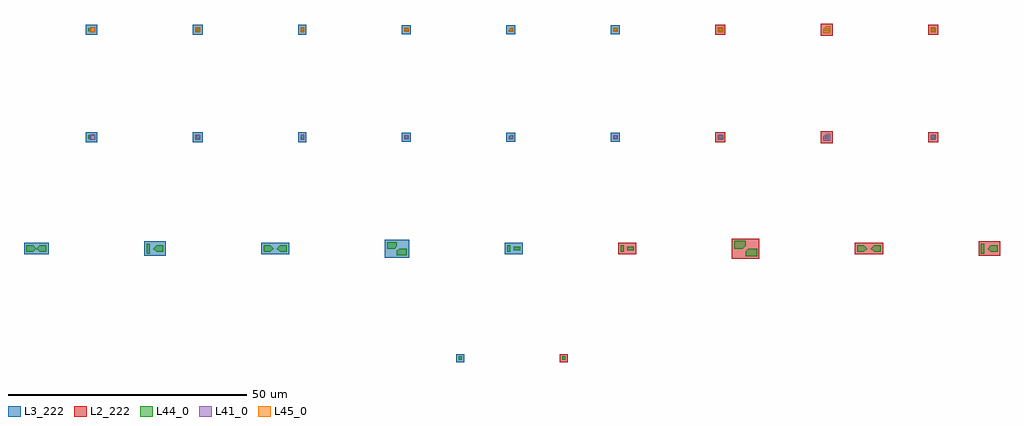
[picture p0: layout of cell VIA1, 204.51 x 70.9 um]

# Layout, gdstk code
from math import pi, radians
import gdstk
lib = gdstk.Library(unit=1e-6, precision=1e-09)
def R(c, l, rs):  # rectangles x0, y0, x1, y1
    for r in rs: c.add(gdstk.rectangle(r[:2], r[2:], *l))
def P(c, l, *ps):  # polygons
    for p in ps: c.add(gdstk.Polygon(p, *l))
L2_222 = (2, 222)
L3_222 = (3, 222)
L41_0 = (41, 0)
L44_0 = (44, 0)
L45_0 = (45, 0)

compass_layervia1_size0p = lib.new_cell('compass_layerVIA1_size0p7__0p7')
R(compass_layervia1_size0p, L44_0, [(-0.35,-0.35,0.35,0.35)])

rectangle_layervia1_size = lib.new_cell('rectangle_layerVIA1_size0p7__0p7')
rectangle_layervia1_size.add(gdstk.Reference(compass_layervia1_size0p, (0.35,0.35)))

compass_b2efa8bb = lib.new_cell('compass_b2efa8bb')
R(compass_b2efa8bb, L2_222, [(-0.85,-0.85,0.85,0.85)])

rectangle_b2efa8bb = lib.new_cell('rectangle_b2efa8bb')
rectangle_b2efa8bb.add(gdstk.Reference(compass_b2efa8bb, (0.85,0.85)))

pass_fail_mk_dee1b1f1 = lib.new_cell('pass_fail_mk_dee1b1f1')
pass_fail_mk_dee1b1f1.add(gdstk.Reference(rectangle_b2efa8bb, (-0.5,-0.5)))
pass_fail_mk_dee1b1f1.add(gdstk.Label('VIAC.W.1', (-0.25,-0.25), layer=11, texttype=222))

c_compass_layervia1_size0p = lib.new_cell('compass_layerVIA1_size0p69__0p69')
R(c_compass_layervia1_size0p, L44_0, [(-0.345,-0.345,0.345,0.345)])

c_rectangle_layervia1_size = lib.new_cell('rectangle_layerVIA1_size0p69__0p69')
c_rectangle_layervia1_size.add(gdstk.Reference(c_compass_layervia1_size0p, (0.345,0.345)))

compass_bd24d7c0 = lib.new_cell('compass_bd24d7c0')
R(compass_bd24d7c0, L3_222, [(-0.845,-0.845,0.845,0.845)])

rectangle_bd24d7c0 = lib.new_cell('rectangle_bd24d7c0')
rectangle_bd24d7c0.add(gdstk.Reference(compass_bd24d7c0, (0.845,0.845)))

pass_fail_mk_a23e139b = lib.new_cell('pass_fail_mk_a23e139b')
pass_fail_mk_a23e139b.add(gdstk.Reference(rectangle_bd24d7c0, (-0.5,-0.5)))
pass_fail_mk_a23e139b.add(gdstk.Label('VIAC.W.1', (-0.25,-0.25), layer=11, texttype=222))

size_patterns_width0_7_l = lib.new_cell('size_patterns_width0.7_layerVIA1')
size_patterns_width0_7_l.add(gdstk.Reference(rectangle_layervia1_size, (0,0)))
size_patterns_width0_7_l.add(gdstk.Reference(pass_fail_mk_dee1b1f1, (0,0)))
size_patterns_width0_7_l.add(gdstk.Reference(c_rectangle_layervia1_size, (-21.69,0.005)))
size_patterns_width0_7_l.add(gdstk.Reference(pass_fail_mk_a23e139b, (-21.69,0.005)))

c_compass_layervia1_size0p_ = lib.new_cell('compass_layerVIA1_size0p7__1p4')
R(c_compass_layervia1_size0p_, L44_0, [(-0.35,-0.7,0.35,0.7)])

c_rectangle_layervia1_size_ = lib.new_cell('rectangle_layerVIA1_size0p7__1p4')
c_rectangle_layervia1_size_.add(gdstk.Reference(c_compass_layervia1_size0p_, (0.35,0.7)))

compass_layervia1_size1p = lib.new_cell('compass_layerVIA1_size1p4__0p7')
R(compass_layervia1_size1p, L44_0, [(-0.7,-0.35,0.7,0.35)])

c_rectangle_layervia1_size__ = lib.new_cell('rectangle_layerVIA1_size1p4__0p7')
c_rectangle_layervia1_size__.add(gdstk.Reference(compass_layervia1_size1p, (0.7,0.35)))

space_basic_spacing0_7_l = lib.new_cell('space_basic_spacing0.7_layer1VIA1_layer2VIA1')
space_basic_spacing0_7_l.add(gdstk.Reference(c_rectangle_layervia1_size_, (-0.7,1.05), rotation=pi))
space_basic_spacing0_7_l.add(gdstk.Reference(c_rectangle_layervia1_size__, (0,0)))

compass_77408f74 = lib.new_cell('compass_77408f74')
R(compass_77408f74, L2_222, [(-1.9,-1.2,1.9,1.2)])

rectangle_77408f74 = lib.new_cell('rectangle_77408f74')
rectangle_77408f74.add(gdstk.Reference(compass_77408f74, (1.9,1.2)))

pass_fail_mk_a50d1928 = lib.new_cell('pass_fail_mk_a50d1928')
pass_fail_mk_a50d1928.add(gdstk.Reference(rectangle_77408f74, (-1.9,-0.85)))
pass_fail_mk_a50d1928.add(gdstk.Label('VIAC.S.1', (-1.65,-0.6), layer=11, texttype=222))

space_basic_spacing0_69_ = lib.new_cell('space_basic_spacing0.69_layer1VIA1_layer2VIA1')
space_basic_spacing0_69_.add(gdstk.Reference(c_rectangle_layervia1_size_, (-0.69,1.05), rotation=pi))
space_basic_spacing0_69_.add(gdstk.Reference(c_rectangle_layervia1_size__, (0,0)))

compass_235e8b68 = lib.new_cell('compass_235e8b68')
R(compass_235e8b68, L3_222, [(-1.895,-1.2,1.895,1.2)])

rectangle_235e8b68 = lib.new_cell('rectangle_235e8b68')
rectangle_235e8b68.add(gdstk.Reference(compass_235e8b68, (1.895,1.2)))

pass_fail_mk_c2ff4533 = lib.new_cell('pass_fail_mk_c2ff4533')
pass_fail_mk_c2ff4533.add(gdstk.Reference(rectangle_235e8b68, (-1.89,-0.85)))
pass_fail_mk_c2ff4533.add(gdstk.Label('VIAC.S.1', (-1.64,-0.6), layer=11, texttype=222))

boolean_d62dbe90 = lib.new_cell('boolean_d62dbe90')
P(boolean_d62dbe90, L44_0, [(2.4,1.6),(0.567,1.6),(0,1.032),(0,0),(2.4,0)])

space_45deg_spacing0_799 = lib.new_cell('space_45deg_spacing0.7999999999999999_layer1VIA1_layer2VIA1')
space_45deg_spacing0_799.add(gdstk.Reference(boolean_d62dbe90, (0,0)))
space_45deg_spacing0_799.add(gdstk.Reference(boolean_d62dbe90, (0,3.2), rotation=pi))

compass_ca9d0b4a = lib.new_cell('compass_ca9d0b4a')
R(compass_ca9d0b4a, L2_222, [(-2.9,-2.1,2.9,2.1)])

rectangle_ca9d0b4a = lib.new_cell('rectangle_ca9d0b4a')
rectangle_ca9d0b4a.add(gdstk.Reference(compass_ca9d0b4a, (2.9,2.1)))

pass_fail_mk_87d67501 = lib.new_cell('pass_fail_mk_87d67501')
pass_fail_mk_87d67501.add(gdstk.Reference(rectangle_ca9d0b4a, (-2.9,-0.5)))
pass_fail_mk_87d67501.add(gdstk.Label('VIAC.S.1', (-2.65,-0.25), layer=11, texttype=222))

boolean_6afd6f60 = lib.new_cell('boolean_6afd6f60')
P(boolean_6afd6f60, L44_0, [(2.07,1.38),(0.489,1.38),(0,0.891),(0,0),(2.07,0)])

space_45deg_spacing0_69_ = lib.new_cell('space_45deg_spacing0.69_layer1VIA1_layer2VIA1')
space_45deg_spacing0_69_.add(gdstk.Reference(boolean_6afd6f60, (0,0)))
space_45deg_spacing0_69_.add(gdstk.Reference(boolean_6afd6f60, (0,2.76), rotation=pi))

compass_da3c626a = lib.new_cell('compass_da3c626a')
R(compass_da3c626a, L3_222, [(-2.57,-1.88,2.57,1.88)])

rectangle_da3c626a = lib.new_cell('rectangle_da3c626a')
rectangle_da3c626a.add(gdstk.Reference(compass_da3c626a, (2.57,1.88)))

pass_fail_mk_aa624176 = lib.new_cell('pass_fail_mk_aa624176')
pass_fail_mk_aa624176.add(gdstk.Reference(rectangle_da3c626a, (-2.57,-0.5)))
pass_fail_mk_aa624176.add(gdstk.Label('VIAC.S.1', (-2.32,-0.25), layer=11, texttype=222))

boolean_af2b0828 = lib.new_cell('boolean_af2b0828')
P(boolean_af2b0828, L44_0, [(0,0),(1.4,0),(1.4,1.4),(0,1.4),(-0.7,0.7)])

boolean_0dd5db65 = lib.new_cell('boolean_0dd5db65')
P(boolean_0dd5db65, L44_0, [(1.4,1.4),(0,1.4),(-0.7,0.7),(0,0),(1.4,0)])

space_cor2cor_spacing0_7 = lib.new_cell('space_cor2cor_spacing0.7_layer1VIA1_layer2VIA1')
space_cor2cor_spacing0_7.add(gdstk.Reference(boolean_af2b0828, (0,0)))
space_cor2cor_spacing0_7.add(gdstk.Reference(boolean_0dd5db65, (-2.1,1.4), rotation=pi))

compass_ff052847 = lib.new_cell('compass_ff052847')
R(compass_ff052847, L2_222, [(-2.95,-1.2,2.95,1.2)])

rectangle_ff052847 = lib.new_cell('rectangle_ff052847')
rectangle_ff052847.add(gdstk.Reference(compass_ff052847, (2.95,1.2)))

pass_fail_mk_81b83eff = lib.new_cell('pass_fail_mk_81b83eff')
pass_fail_mk_81b83eff.add(gdstk.Reference(rectangle_ff052847, (-4,-0.5)))
pass_fail_mk_81b83eff.add(gdstk.Label('VIAC.S.1', (-3.75,-0.25), layer=11, texttype=222))

space_cor2cor_spacing0_6 = lib.new_cell('space_cor2cor_spacing0.69_layer1VIA1_layer2VIA1')
space_cor2cor_spacing0_6.add(gdstk.Reference(boolean_af2b0828, (0,0)))
space_cor2cor_spacing0_6.add(gdstk.Reference(boolean_0dd5db65, (-2.09,1.4), rotation=pi))

compass_60b5a301 = lib.new_cell('compass_60b5a301')
R(compass_60b5a301, L3_222, [(-2.945,-1.2,2.945,1.2)])

rectangle_60b5a301 = lib.new_cell('rectangle_60b5a301')
rectangle_60b5a301.add(gdstk.Reference(compass_60b5a301, (2.945,1.2)))

pass_fail_mk_c4313ab3 = lib.new_cell('pass_fail_mk_c4313ab3')
pass_fail_mk_c4313ab3.add(gdstk.Reference(rectangle_60b5a301, (-3.99,-0.5)))
pass_fail_mk_c4313ab3.add(gdstk.Label('VIAC.S.1', (-3.74,-0.25), layer=11, texttype=222))

c_compass_layervia1_size0p__ = lib.new_cell('compass_layerVIA1_size0p7__2p1')
R(c_compass_layervia1_size0p__, L44_0, [(-0.35,-1.05,0.35,1.05)])

c_rectangle_layervia1_size___ = lib.new_cell('rectangle_layerVIA1_size0p7__2p1')
c_rectangle_layervia1_size___.add(gdstk.Reference(c_compass_layervia1_size0p__, (0.35,1.05)))

space_cor2edge_spacing0_ = lib.new_cell('space_cor2edge_spacing0.7_layer1VIA1_layer2VIA1')
space_cor2edge_spacing0_.add(gdstk.Reference(c_rectangle_layervia1_size___, (-2.1,-0.35)))
space_cor2edge_spacing0_.add(gdstk.Reference(boolean_af2b0828, (0,0)))

compass_0f98536f = lib.new_cell('compass_0f98536f')
R(compass_0f98536f, L2_222, [(-2.25,-1.55,2.25,1.55)])

rectangle_0f98536f = lib.new_cell('rectangle_0f98536f')
rectangle_0f98536f.add(gdstk.Reference(compass_0f98536f, (2.25,1.55)))

pass_fail_mk_62ca5245 = lib.new_cell('pass_fail_mk_62ca5245')
pass_fail_mk_62ca5245.add(gdstk.Reference(rectangle_0f98536f, (-2.6,-0.85)))
pass_fail_mk_62ca5245.add(gdstk.Label('VIAC.S.1', (-2.35,-0.6), layer=11, texttype=222))

c_space_cor2edge_spacing0_ = lib.new_cell('space_cor2edge_spacing0.69_layer1VIA1_layer2VIA1')
c_space_cor2edge_spacing0_.add(gdstk.Reference(c_rectangle_layervia1_size___, (-2.09,-0.35)))
c_space_cor2edge_spacing0_.add(gdstk.Reference(boolean_af2b0828, (0,0)))

compass_382587ec = lib.new_cell('compass_382587ec')
R(compass_382587ec, L3_222, [(-2.245,-1.55,2.245,1.55)])

rectangle_382587ec = lib.new_cell('rectangle_382587ec')
rectangle_382587ec.add(gdstk.Reference(compass_382587ec, (2.245,1.55)))

pass_fail_mk_05eecb4e = lib.new_cell('pass_fail_mk_05eecb4e')
pass_fail_mk_05eecb4e.add(gdstk.Reference(rectangle_382587ec, (-2.59,-0.85)))
pass_fail_mk_05eecb4e.add(gdstk.Label('VIAC.S.1', (-2.34,-0.6), layer=11, texttype=222))

space_singular_layer1via = lib.new_cell('space_singular_layer1VIA1_layer2VIA1')
space_singular_layer1via.add(gdstk.Reference(boolean_af2b0828, (0,0)))
space_singular_layer1via.add(gdstk.Reference(boolean_af2b0828, (-1.4,1.4), rotation=pi))

compass_ae880962 = lib.new_cell('compass_ae880962')
R(compass_ae880962, L3_222, [(-2.6,-1.2,2.6,1.2)])

rectangle_ae880962 = lib.new_cell('rectangle_ae880962')
rectangle_ae880962.add(gdstk.Reference(compass_ae880962, (2.6,1.2)))

pass_fail_mk_d12dc16d = lib.new_cell('pass_fail_mk_d12dc16d')
pass_fail_mk_d12dc16d.add(gdstk.Reference(rectangle_ae880962, (-3.3,-0.5)))
pass_fail_mk_d12dc16d.add(gdstk.Label('VIAC.S.1', (-3.05,-0.25), layer=11, texttype=222))

space_patterns_width0_7_ = lib.new_cell('space_patterns_width0.7_layer1VIA1_layer2VIA1')
space_patterns_width0_7_.add(gdstk.Reference(space_basic_spacing0_7_l, (0,0)))
space_patterns_width0_7_.add(gdstk.Reference(pass_fail_mk_a50d1928, (0,0)))
space_patterns_width0_7_.add(gdstk.Reference(space_basic_spacing0_69_, (-23.8,0)))
space_patterns_width0_7_.add(gdstk.Reference(pass_fail_mk_c2ff4533, (-23.8,0)))
space_patterns_width0_7_.add(gdstk.Reference(space_45deg_spacing0_799, (24.8,-1.25)))
space_patterns_width0_7_.add(gdstk.Reference(pass_fail_mk_87d67501, (24.8,-1.25)))
space_patterns_width0_7_.add(gdstk.Reference(space_45deg_spacing0_69_, (-48.26,-1.03)))
space_patterns_width0_7_.add(gdstk.Reference(pass_fail_mk_aa624176, (-48.26,-1.03)))
space_patterns_width0_7_.add(gdstk.Reference(space_cor2cor_spacing0_7, (51.7,-0.35)))
space_patterns_width0_7_.add(gdstk.Reference(pass_fail_mk_81b83eff, (51.7,-0.35)))
space_patterns_width0_7_.add(gdstk.Reference(space_cor2cor_spacing0_6, (-72.73,-0.35)))
space_patterns_width0_7_.add(gdstk.Reference(pass_fail_mk_c4313ab3, (-72.73,-0.35)))
space_patterns_width0_7_.add(gdstk.Reference(space_cor2edge_spacing0_, (76.2,-0.35)))
space_patterns_width0_7_.add(gdstk.Reference(pass_fail_mk_62ca5245, (76.2,-0.35)))
space_patterns_width0_7_.add(gdstk.Reference(c_space_cor2edge_spacing0_, (-98.62,-0.35)))
space_patterns_width0_7_.add(gdstk.Reference(pass_fail_mk_05eecb4e, (-98.62,-0.35)))
space_patterns_width0_7_.add(gdstk.Reference(space_singular_layer1via, (-123.11,-0.35)))
space_patterns_width0_7_.add(gdstk.Reference(pass_fail_mk_d12dc16d, (-123.11,-0.35)))

compass_layerm1_size1p1_ = lib.new_cell('compass_layerM1_size1p1__1p1')
R(compass_layerm1_size1p1_, L41_0, [(-0.55,-0.55,0.55,0.55)])

rectangle_layerm1_size1p = lib.new_cell('rectangle_layerM1_size1p1__1p1')
rectangle_layerm1_size1p.add(gdstk.Reference(compass_layerm1_size1p1_, (0.55,0.55)))

enclose_basic_enc0_2_wid = lib.new_cell('enclose_basic_enc0.2_width0.7_layer_VIA1_enc_layerM1')
enclose_basic_enc0_2_wid.add(gdstk.Reference(rectangle_layervia1_size, (0,0)))
enclose_basic_enc0_2_wid.add(gdstk.Reference(rectangle_layerm1_size1p, (-0.2,-0.2)))

compass_4d9544ad = lib.new_cell('compass_4d9544ad')
R(compass_4d9544ad, L2_222, [(-1.05,-1.05,1.05,1.05)])

rectangle_4d9544ad = lib.new_cell('rectangle_4d9544ad')
rectangle_4d9544ad.add(gdstk.Reference(compass_4d9544ad, (1.05,1.05)))

pass_fail_mk_d8880c2c = lib.new_cell('pass_fail_mk_d8880c2c')
pass_fail_mk_d8880c2c.add(gdstk.Reference(rectangle_4d9544ad, (-0.7,-0.7)))
pass_fail_mk_d8880c2c.add(gdstk.Label('VIAC.EN.1', (-0.45,-0.45), layer=11, texttype=222))

compass_layerm1_size0p9_ = lib.new_cell('compass_layerM1_size0p9__0p9')
R(compass_layerm1_size0p9_, L41_0, [(-0.45,-0.45,0.45,0.45)])

rectangle_layerm1_size0p = lib.new_cell('rectangle_layerM1_size0p9__0p9')
rectangle_layerm1_size0p.add(gdstk.Reference(compass_layerm1_size0p9_, (0.45,0.45)))

enclose_basic_enc0_1_wid = lib.new_cell('enclose_basic_enc0.1_width0.7_layer_VIA1_enc_layerM1')
enclose_basic_enc0_1_wid.add(gdstk.Reference(rectangle_layervia1_size, (0,0)))
enclose_basic_enc0_1_wid.add(gdstk.Reference(rectangle_layerm1_size0p, (-0.1,-0.1)))

compass_35335814 = lib.new_cell('compass_35335814')
R(compass_35335814, L3_222, [(-0.95,-0.95,0.95,0.95)])

rectangle_35335814 = lib.new_cell('rectangle_35335814')
rectangle_35335814.add(gdstk.Reference(compass_35335814, (0.95,0.95)))

pass_fail_mk_7a0164c3 = lib.new_cell('pass_fail_mk_7a0164c3')
pass_fail_mk_7a0164c3.add(gdstk.Reference(rectangle_35335814, (-0.6,-0.6)))
pass_fail_mk_7a0164c3.add(gdstk.Label('VIAC.EN.1', (-0.35,-0.35), layer=11, texttype=222))

boolean_189be4b6 = lib.new_cell('boolean_189be4b6')
P(boolean_189be4b6, L44_0, [(0.7,0.7),(0.248,0.7),(0,0.452),(0,0),(0.7,0)])

boolean_04932b49 = lib.new_cell('boolean_04932b49')
P(boolean_04932b49, L41_0, [(1.1,1.1),(0.209,1.1),(-0.4,0.491),(-0.4,-0.4),(1.1,-0.4)])

enclose_45deg_enc0_4_wid = lib.new_cell('enclose_45deg_enc0.4_width0.7_layer_VIA1_enc_layerM1')
enclose_45deg_enc0_4_wid.add(gdstk.Reference(boolean_189be4b6, (0,0)))
enclose_45deg_enc0_4_wid.add(gdstk.Reference(boolean_04932b49, (0,0)))

compass_d4646f12 = lib.new_cell('compass_d4646f12')
R(compass_d4646f12, L2_222, [(-1.25,-1.25,1.25,1.25)])

rectangle_d4646f12 = lib.new_cell('rectangle_d4646f12')
rectangle_d4646f12.add(gdstk.Reference(compass_d4646f12, (1.25,1.25)))

pass_fail_mk_0ba75f0b = lib.new_cell('pass_fail_mk_0ba75f0b')
pass_fail_mk_0ba75f0b.add(gdstk.Reference(rectangle_d4646f12, (-0.9,-0.9)))
pass_fail_mk_0ba75f0b.add(gdstk.Label('VIAC.EN.1', (-0.65,-0.65), layer=11, texttype=222))

boolean_836d6e85 = lib.new_cell('boolean_836d6e85')
P(boolean_836d6e85, L41_0, [(0.8,0.8),(0.315,0.8),(-0.1,0.385),(-0.1,-0.1),(0.8,-0.1)])

enclose_45deg_enc0_1_wid = lib.new_cell('enclose_45deg_enc0.1_width0.7_layer_VIA1_enc_layerM1')
enclose_45deg_enc0_1_wid.add(gdstk.Reference(boolean_189be4b6, (0,0)))
enclose_45deg_enc0_1_wid.add(gdstk.Reference(boolean_836d6e85, (0,0)))

pass_fail_mk_fa232032 = lib.new_cell('pass_fail_mk_fa232032')
pass_fail_mk_fa232032.add(gdstk.Reference(rectangle_35335814, (-0.6,-0.6)))
pass_fail_mk_fa232032.add(gdstk.Label('VIAC.EN.1', (-0.35,-0.35), layer=11, texttype=222))

boolean_834c05d4 = lib.new_cell('boolean_834c05d4')
P(boolean_834c05d4, L41_0, [(0.9,0.9),(-0.085,0.9),(-0.2,0.785),(-0.2,-0.2),(0.9,-0.2)])

enclose_cor2edge_enc0_2_ = lib.new_cell('enclose_cor2edge_enc0.2_width0.7_layer_VIA1_enc_layerM1')
enclose_cor2edge_enc0_2_.add(gdstk.Reference(rectangle_layervia1_size, (0,0)))
enclose_cor2edge_enc0_2_.add(gdstk.Reference(boolean_834c05d4, (0,0)))

pass_fail_mk_ee1bea64 = lib.new_cell('pass_fail_mk_ee1bea64')
pass_fail_mk_ee1bea64.add(gdstk.Reference(rectangle_4d9544ad, (-0.7,-0.7)))
pass_fail_mk_ee1bea64.add(gdstk.Label('VIAC.EN.1', (-0.45,-0.45), layer=11, texttype=222))

boolean_03248ea6 = lib.new_cell('boolean_03248ea6')
P(boolean_03248ea6, L41_0, [(0.8,0.8),(-0.042,0.8),(-0.1,0.742),(-0.1,-0.1),(0.8,-0.1)])

enclose_cor2edge_enc0_1_ = lib.new_cell('enclose_cor2edge_enc0.1_width0.7_layer_VIA1_enc_layerM1')
enclose_cor2edge_enc0_1_.add(gdstk.Reference(rectangle_layervia1_size, (0,0)))
enclose_cor2edge_enc0_1_.add(gdstk.Reference(boolean_03248ea6, (0,0)))

pass_fail_mk_55021494 = lib.new_cell('pass_fail_mk_55021494')
pass_fail_mk_55021494.add(gdstk.Reference(rectangle_35335814, (-0.6,-0.6)))
pass_fail_mk_55021494.add(gdstk.Label('VIAC.EN.1', (-0.35,-0.35), layer=11, texttype=222))

compass_layerm1_size0p7_ = lib.new_cell('compass_layerM1_size0p7__1p1')
R(compass_layerm1_size0p7_, L41_0, [(-0.35,-0.55,0.35,0.55)])

c_rectangle_layerm1_size0p = lib.new_cell('rectangle_layerM1_size0p7__1p1')
c_rectangle_layerm1_size0p.add(gdstk.Reference(compass_layerm1_size0p7_, (0.35,0.55)))

enclose_touch_enc0_2_wid = lib.new_cell('enclose_touch_enc0.2_width0.7_layer_VIA1_enc_layerM1')
enclose_touch_enc0_2_wid.add(gdstk.Reference(rectangle_layervia1_size, (0,0)))
enclose_touch_enc0_2_wid.add(gdstk.Reference(c_rectangle_layerm1_size0p, (0,-0.2)))

compass_6bef56c6 = lib.new_cell('compass_6bef56c6')
R(compass_6bef56c6, L3_222, [(-0.85,-1.05,0.85,1.05)])

rectangle_6bef56c6 = lib.new_cell('rectangle_6bef56c6')
rectangle_6bef56c6.add(gdstk.Reference(compass_6bef56c6, (0.85,1.05)))

pass_fail_mk_346cc177 = lib.new_cell('pass_fail_mk_346cc177')
pass_fail_mk_346cc177.add(gdstk.Reference(rectangle_6bef56c6, (-0.5,-0.7)))
pass_fail_mk_346cc177.add(gdstk.Label('VIAC.EN.1', (-0.25,-0.45), layer=11, texttype=222))

boolean_caddbb86 = lib.new_cell('boolean_caddbb86')
P(boolean_caddbb86, L41_0, [(0.9,0.9),(-0.2,0.9),(-0.2,0.088),(0.088,0.088),(0.088,0.612),(0.612,0.612),(0.612,0.088),(0.088,0.088),(-0.2,0.088),(-0.2,-0.2),(0.9,-0.2)])

enclose_hole_enc0_2_widt = lib.new_cell('enclose_hole_enc0.2_width0.7_layer_VIA1_enc_layerM1')
enclose_hole_enc0_2_widt.add(gdstk.Reference(rectangle_layervia1_size, (0,0)))
enclose_hole_enc0_2_widt.add(gdstk.Reference(boolean_caddbb86, (0,0)))

compass_68271b65 = lib.new_cell('compass_68271b65')
R(compass_68271b65, L3_222, [(-1.05,-1.05,1.05,1.05)])

rectangle_68271b65 = lib.new_cell('rectangle_68271b65')
rectangle_68271b65.add(gdstk.Reference(compass_68271b65, (1.05,1.05)))

pass_fail_mk_a595b96d = lib.new_cell('pass_fail_mk_a595b96d')
pass_fail_mk_a595b96d.add(gdstk.Reference(rectangle_68271b65, (-0.7,-0.7)))
pass_fail_mk_a595b96d.add(gdstk.Label('VIAC.EN.1', (-0.45,-0.45), layer=11, texttype=222))

enclose_intersect_enc0_2 = lib.new_cell('enclose_intersect_enc0.2_width0.7_layer_VIA1_enc_layerM1')
enclose_intersect_enc0_2.add(gdstk.Reference(rectangle_layervia1_size, (-0.55,0)))
enclose_intersect_enc0_2.add(gdstk.Reference(rectangle_layerm1_size1p, (-0.2,-0.2)))

compass_78b57009 = lib.new_cell('compass_78b57009')
R(compass_78b57009, L3_222, [(-1.225,-1.05,1.225,1.05)])

rectangle_78b57009 = lib.new_cell('rectangle_78b57009')
rectangle_78b57009.add(gdstk.Reference(compass_78b57009, (1.225,1.05)))

pass_fail_mk_89ed230d = lib.new_cell('pass_fail_mk_89ed230d')
pass_fail_mk_89ed230d.add(gdstk.Reference(rectangle_78b57009, (-1.05,-0.7)))
pass_fail_mk_89ed230d.add(gdstk.Label('VIAC.EN.1', (-0.8,-0.45), layer=11, texttype=222))

enclose_patterns_enclosu = lib.new_cell('enclose_patterns_enclosure0.2_width0.7_layerVIA1_enc_layerM1')
enclose_patterns_enclosu.add(gdstk.Reference(enclose_basic_enc0_2_wid, (0,0)))
enclose_patterns_enclosu.add(gdstk.Reference(pass_fail_mk_d8880c2c, (0,0)))
enclose_patterns_enclosu.add(gdstk.Reference(enclose_basic_enc0_1_wid, (-22,0)))
enclose_patterns_enclosu.add(gdstk.Reference(pass_fail_mk_7a0164c3, (-22,0)))
enclose_patterns_enclosu.add(gdstk.Reference(enclose_45deg_enc0_4_wid, (22.3,0)))
enclose_patterns_enclosu.add(gdstk.Reference(pass_fail_mk_0ba75f0b, (22.3,0)))
enclose_patterns_enclosu.add(gdstk.Reference(enclose_45deg_enc0_1_wid, (-43.9,0)))
enclose_patterns_enclosu.add(gdstk.Reference(pass_fail_mk_fa232032, (-43.9,0)))
enclose_patterns_enclosu.add(gdstk.Reference(enclose_cor2edge_enc0_2_, (44.6,0)))
enclose_patterns_enclosu.add(gdstk.Reference(pass_fail_mk_ee1bea64, (44.6,0)))
enclose_patterns_enclosu.add(gdstk.Reference(enclose_cor2edge_enc0_1_, (-65.8,0)))
enclose_patterns_enclosu.add(gdstk.Reference(pass_fail_mk_55021494, (-65.8,0)))
enclose_patterns_enclosu.add(gdstk.Reference(enclose_touch_enc0_2_wid, (-87.6,0)))
enclose_patterns_enclosu.add(gdstk.Reference(pass_fail_mk_346cc177, (-87.6,0)))
enclose_patterns_enclosu.add(gdstk.Reference(enclose_hole_enc0_2_widt, (-109.5,0)))
enclose_patterns_enclosu.add(gdstk.Reference(pass_fail_mk_a595b96d, (-109.5,0)))
enclose_patterns_enclosu.add(gdstk.Reference(enclose_intersect_enc0_2, (-131.6,0)))
enclose_patterns_enclosu.add(gdstk.Reference(pass_fail_mk_89ed230d, (-131.6,0)))

compass_layerm2_size1p1_ = lib.new_cell('compass_layerM2_size1p1__1p1')
R(compass_layerm2_size1p1_, L45_0, [(-0.55,-0.55,0.55,0.55)])

rectangle_layerm2_size1p = lib.new_cell('rectangle_layerM2_size1p1__1p1')
rectangle_layerm2_size1p.add(gdstk.Reference(compass_layerm2_size1p1_, (0.55,0.55)))

c_enclose_basic_enc0_2_wid = lib.new_cell('enclose_basic_enc0.2_width0.7_layer_VIA1_enc_layerM2')
c_enclose_basic_enc0_2_wid.add(gdstk.Reference(rectangle_layervia1_size, (0,0)))
c_enclose_basic_enc0_2_wid.add(gdstk.Reference(rectangle_layerm2_size1p, (-0.2,-0.2)))

pass_fail_mk_6ffb24cd = lib.new_cell('pass_fail_mk_6ffb24cd')
pass_fail_mk_6ffb24cd.add(gdstk.Reference(rectangle_4d9544ad, (-0.7,-0.7)))
pass_fail_mk_6ffb24cd.add(gdstk.Label('VIAC.EN.2', (-0.45,-0.45), layer=11, texttype=222))

compass_layerm2_size0p9_ = lib.new_cell('compass_layerM2_size0p9__0p9')
R(compass_layerm2_size0p9_, L45_0, [(-0.45,-0.45,0.45,0.45)])

rectangle_layerm2_size0p = lib.new_cell('rectangle_layerM2_size0p9__0p9')
rectangle_layerm2_size0p.add(gdstk.Reference(compass_layerm2_size0p9_, (0.45,0.45)))

c_enclose_basic_enc0_1_wid = lib.new_cell('enclose_basic_enc0.1_width0.7_layer_VIA1_enc_layerM2')
c_enclose_basic_enc0_1_wid.add(gdstk.Reference(rectangle_layervia1_size, (0,0)))
c_enclose_basic_enc0_1_wid.add(gdstk.Reference(rectangle_layerm2_size0p, (-0.1,-0.1)))

pass_fail_mk_701469c3 = lib.new_cell('pass_fail_mk_701469c3')
pass_fail_mk_701469c3.add(gdstk.Reference(rectangle_35335814, (-0.6,-0.6)))
pass_fail_mk_701469c3.add(gdstk.Label('VIAC.EN.2', (-0.35,-0.35), layer=11, texttype=222))

boolean_161bbef3 = lib.new_cell('boolean_161bbef3')
P(boolean_161bbef3, L45_0, [(1.1,1.1),(0.209,1.1),(-0.4,0.491),(-0.4,-0.4),(1.1,-0.4)])

c_enclose_45deg_enc0_4_wid = lib.new_cell('enclose_45deg_enc0.4_width0.7_layer_VIA1_enc_layerM2')
c_enclose_45deg_enc0_4_wid.add(gdstk.Reference(boolean_189be4b6, (0,0)))
c_enclose_45deg_enc0_4_wid.add(gdstk.Reference(boolean_161bbef3, (0,0)))

pass_fail_mk_4153c332 = lib.new_cell('pass_fail_mk_4153c332')
pass_fail_mk_4153c332.add(gdstk.Reference(rectangle_d4646f12, (-0.9,-0.9)))
pass_fail_mk_4153c332.add(gdstk.Label('VIAC.EN.2', (-0.65,-0.65), layer=11, texttype=222))

boolean_068c61a4 = lib.new_cell('boolean_068c61a4')
P(boolean_068c61a4, L45_0, [(0.8,0.8),(0.315,0.8),(-0.1,0.385),(-0.1,-0.1),(0.8,-0.1)])

c_enclose_45deg_enc0_1_wid = lib.new_cell('enclose_45deg_enc0.1_width0.7_layer_VIA1_enc_layerM2')
c_enclose_45deg_enc0_1_wid.add(gdstk.Reference(boolean_189be4b6, (0,0)))
c_enclose_45deg_enc0_1_wid.add(gdstk.Reference(boolean_068c61a4, (0,0)))

pass_fail_mk_f549ad90 = lib.new_cell('pass_fail_mk_f549ad90')
pass_fail_mk_f549ad90.add(gdstk.Reference(rectangle_35335814, (-0.6,-0.6)))
pass_fail_mk_f549ad90.add(gdstk.Label('VIAC.EN.2', (-0.35,-0.35), layer=11, texttype=222))

boolean_f3df6625 = lib.new_cell('boolean_f3df6625')
P(boolean_f3df6625, L45_0, [(0.9,0.9),(-0.085,0.9),(-0.2,0.785),(-0.2,-0.2),(0.9,-0.2)])

c_enclose_cor2edge_enc0_2_ = lib.new_cell('enclose_cor2edge_enc0.2_width0.7_layer_VIA1_enc_layerM2')
c_enclose_cor2edge_enc0_2_.add(gdstk.Reference(rectangle_layervia1_size, (0,0)))
c_enclose_cor2edge_enc0_2_.add(gdstk.Reference(boolean_f3df6625, (0,0)))

pass_fail_mk_35dc026f = lib.new_cell('pass_fail_mk_35dc026f')
pass_fail_mk_35dc026f.add(gdstk.Reference(rectangle_4d9544ad, (-0.7,-0.7)))
pass_fail_mk_35dc026f.add(gdstk.Label('VIAC.EN.2', (-0.45,-0.45), layer=11, texttype=222))

boolean_da858abf = lib.new_cell('boolean_da858abf')
P(boolean_da858abf, L45_0, [(0.8,0.8),(-0.042,0.8),(-0.1,0.742),(-0.1,-0.1),(0.8,-0.1)])

c_enclose_cor2edge_enc0_1_ = lib.new_cell('enclose_cor2edge_enc0.1_width0.7_layer_VIA1_enc_layerM2')
c_enclose_cor2edge_enc0_1_.add(gdstk.Reference(rectangle_layervia1_size, (0,0)))
c_enclose_cor2edge_enc0_1_.add(gdstk.Reference(boolean_da858abf, (0,0)))

pass_fail_mk_2949192d = lib.new_cell('pass_fail_mk_2949192d')
pass_fail_mk_2949192d.add(gdstk.Reference(rectangle_35335814, (-0.6,-0.6)))
pass_fail_mk_2949192d.add(gdstk.Label('VIAC.EN.2', (-0.35,-0.35), layer=11, texttype=222))

compass_layerm2_size0p7_ = lib.new_cell('compass_layerM2_size0p7__1p1')
R(compass_layerm2_size0p7_, L45_0, [(-0.35,-0.55,0.35,0.55)])

c_rectangle_layerm2_size0p = lib.new_cell('rectangle_layerM2_size0p7__1p1')
c_rectangle_layerm2_size0p.add(gdstk.Reference(compass_layerm2_size0p7_, (0.35,0.55)))

c_enclose_touch_enc0_2_wid = lib.new_cell('enclose_touch_enc0.2_width0.7_layer_VIA1_enc_layerM2')
c_enclose_touch_enc0_2_wid.add(gdstk.Reference(rectangle_layervia1_size, (0,0)))
c_enclose_touch_enc0_2_wid.add(gdstk.Reference(c_rectangle_layerm2_size0p, (0,-0.2)))

pass_fail_mk_7303bebc = lib.new_cell('pass_fail_mk_7303bebc')
pass_fail_mk_7303bebc.add(gdstk.Reference(rectangle_6bef56c6, (-0.5,-0.7)))
pass_fail_mk_7303bebc.add(gdstk.Label('VIAC.EN.2', (-0.25,-0.45), layer=11, texttype=222))

boolean_4a46e342 = lib.new_cell('boolean_4a46e342')
P(boolean_4a46e342, L45_0, [(0.9,0.9),(-0.2,0.9),(-0.2,0.088),(0.088,0.088),(0.088,0.612),(0.612,0.612),(0.612,0.088),(0.088,0.088),(-0.2,0.088),(-0.2,-0.2),(0.9,-0.2)])

c_enclose_hole_enc0_2_widt = lib.new_cell('enclose_hole_enc0.2_width0.7_layer_VIA1_enc_layerM2')
c_enclose_hole_enc0_2_widt.add(gdstk.Reference(rectangle_layervia1_size, (0,0)))
c_enclose_hole_enc0_2_widt.add(gdstk.Reference(boolean_4a46e342, (0,0)))

pass_fail_mk_151eb853 = lib.new_cell('pass_fail_mk_151eb853')
pass_fail_mk_151eb853.add(gdstk.Reference(rectangle_68271b65, (-0.7,-0.7)))
pass_fail_mk_151eb853.add(gdstk.Label('VIAC.EN.2', (-0.45,-0.45), layer=11, texttype=222))

c_enclose_intersect_enc0_2 = lib.new_cell('enclose_intersect_enc0.2_width0.7_layer_VIA1_enc_layerM2')
c_enclose_intersect_enc0_2.add(gdstk.Reference(rectangle_layervia1_size, (-0.55,0)))
c_enclose_intersect_enc0_2.add(gdstk.Reference(rectangle_layerm2_size1p, (-0.2,-0.2)))

pass_fail_mk_daf4d6fb = lib.new_cell('pass_fail_mk_daf4d6fb')
pass_fail_mk_daf4d6fb.add(gdstk.Reference(rectangle_78b57009, (-1.05,-0.7)))
pass_fail_mk_daf4d6fb.add(gdstk.Label('VIAC.EN.2', (-0.8,-0.45), layer=11, texttype=222))

c_enclose_patterns_enclosu = lib.new_cell('enclose_patterns_enclosure0.2_width0.7_layerVIA1_enc_layerM2')
c_enclose_patterns_enclosu.add(gdstk.Reference(c_enclose_basic_enc0_2_wid, (0,0)))
c_enclose_patterns_enclosu.add(gdstk.Reference(pass_fail_mk_6ffb24cd, (0,0)))
c_enclose_patterns_enclosu.add(gdstk.Reference(c_enclose_basic_enc0_1_wid, (-22,0)))
c_enclose_patterns_enclosu.add(gdstk.Reference(pass_fail_mk_701469c3, (-22,0)))
c_enclose_patterns_enclosu.add(gdstk.Reference(c_enclose_45deg_enc0_4_wid, (22.3,0)))
c_enclose_patterns_enclosu.add(gdstk.Reference(pass_fail_mk_4153c332, (22.3,0)))
c_enclose_patterns_enclosu.add(gdstk.Reference(c_enclose_45deg_enc0_1_wid, (-43.9,0)))
c_enclose_patterns_enclosu.add(gdstk.Reference(pass_fail_mk_f549ad90, (-43.9,0)))
c_enclose_patterns_enclosu.add(gdstk.Reference(c_enclose_cor2edge_enc0_2_, (44.6,0)))
c_enclose_patterns_enclosu.add(gdstk.Reference(pass_fail_mk_35dc026f, (44.6,0)))
c_enclose_patterns_enclosu.add(gdstk.Reference(c_enclose_cor2edge_enc0_1_, (-65.8,0)))
c_enclose_patterns_enclosu.add(gdstk.Reference(pass_fail_mk_2949192d, (-65.8,0)))
c_enclose_patterns_enclosu.add(gdstk.Reference(c_enclose_touch_enc0_2_wid, (-87.6,0)))
c_enclose_patterns_enclosu.add(gdstk.Reference(pass_fail_mk_7303bebc, (-87.6,0)))
c_enclose_patterns_enclosu.add(gdstk.Reference(c_enclose_hole_enc0_2_widt, (-109.5,0)))
c_enclose_patterns_enclosu.add(gdstk.Reference(pass_fail_mk_151eb853, (-109.5,0)))
c_enclose_patterns_enclosu.add(gdstk.Reference(c_enclose_intersect_enc0_2, (-131.6,0)))
c_enclose_patterns_enclosu.add(gdstk.Reference(pass_fail_mk_daf4d6fb, (-131.6,0)))

via1 = lib.new_cell('VIA1')
via1.add(gdstk.Reference(size_patterns_width0_7_l, (0,0)))
via1.add(gdstk.Reference(space_patterns_width0_7_, (13.66,22.95)))
via1.add(gdstk.Reference(enclose_patterns_enclosu, (32.83,46.3)))
via1.add(gdstk.Reference(c_enclose_patterns_enclosu, (32.83,68.8)))

lib.write_gds('VIA1.gds')
